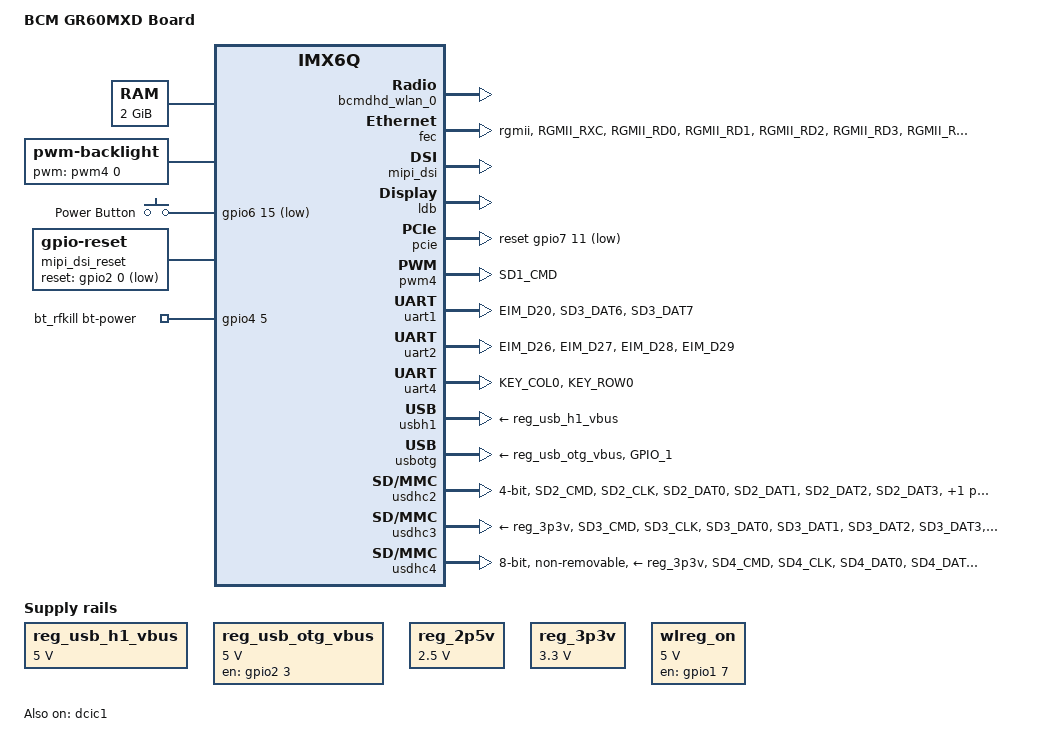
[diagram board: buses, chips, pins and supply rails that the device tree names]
/*
 */

/dts-v1/;

#include "imx6q.dtsi"

/ {
	model = "BCM GR60MXD Board";
	compatible = "bcmtwn,imx6q-gr60mxd", "fsl,imx6q";

	aliases {
		mxcfb0 = &mxcfb1;
		mxcfb1 = &mxcfb2;
	};

	memory {
		reg = <0x10000000 0x80000000>;
	};

	pwm-backlight {
		compatible = "pwm-backlight";
		pwms = <&pwm4 0 38000>;
		brightness-levels = <0 40 50 60 70 80 90 100>;
		default-brightness-level = <7>;
	};

	gpio-keys {
		compatible = "gpio-keys";

		/* Reconfig to power key in Android*/
		power {
			label = "Power Button";
			gpios = <&gpio6 15 GPIO_ACTIVE_LOW>;
			linux,code = <116>; /* KEY_POWER */
			gpio-key,wakeup;
		};
	};

	mipi_dsi_reset: mipi-dsi-reset {
		compatible = "gpio-reset";
		reset-gpios = <&gpio2 0 GPIO_ACTIVE_LOW>;
		reset-delay-us = <50>;
		#reset-cells = <0>;
	};

	mxcfb1: fb@0 {
		compatible = "fsl,mxc_sdc_fb";
		disp_dev = "lcd";
		interface_pix_fmt = "RGB24";
		mode_str ="TIANMA-WVGA";
		default_bpp = <24>;
		int_clk = <0>;
		late_init = <0>;
	};

	mxcfb2: fb@1 {
		compatible = "fsl,mxc_sdc_fb";
		disp_dev = "ldb";
		interface_pix_fmt = "RGB666";
		default_bpp = <16>;
		int_clk = <0>;
		late_init = <0>;
	};

	lcd@0 {
		compatible = "fsl,lcd";
		ipu_id = <0>;
		disp_id = <0>;
		default_ifmt = "RGB24";
		pinctrl-names = "default";
		pinctrl-0 = <&pinctrl_lcd>;
		status = "okay";
	};

	regulators {
		compatible = "simple-bus";

		reg_usb_h1_vbus: usb_h1_vbus {
			compatible = "regulator-fixed";
			regulator-name = "usb_h1_vbus";
			regulator-min-microvolt = <5000000>;
			regulator-max-microvolt = <5000000>;
            enable-active-high;
		};

		reg_usb_otg_vbus: usb_otg_vbus {
			compatible = "regulator-fixed";
			regulator-name = "usb_otg_vbus";
			regulator-min-microvolt = <5000000>;
			regulator-max-microvolt = <5000000>;
			gpio = <&gpio2 3 GPIO_ACTIVE_HIGH>;
            enable-active-high;
		};

		reg_2p5v: regulator@0 {
			compatible = "regulator-fixed";
			reg = <0>;
			regulator-name = "2P5V";
			regulator-min-microvolt = <2500000>;
			regulator-max-microvolt = <2500000>;
			regulator-always-on;
		};

		reg_3p3v: regulator@1 {
			compatible = "regulator-fixed";
			reg = <1>;
			regulator-name = "3P3V";
			regulator-min-microvolt = <3300000>;
			regulator-max-microvolt = <3300000>;
			regulator-always-on;
		};

		wlreg_on: fixedregulator@100 {
			compatible = "regulator-fixed";
			regulator-min-microvolt = <5000000>;
			regulator-max-microvolt = <5000000>;
			regulator-name = "wlreg_on";
			gpio = <&gpio1 7 GPIO_ACTIVE_HIGH>;
			startup-delay-us = <100>;
			enable-active-high;
		};

		bcmdhd_wlan_0: bcmdhd_wlan@0 {
			compatible = "android,bcmdhd_wlan";
			wlreg_on-supply = <&wlreg_on>;
		};

	    bt_rfkill {
            compatible = "fsl,mxc_bt_rfkill";
            bt-power-gpios = <&gpio4 5 0>;
            status ="okay";
	    };

		/*
		reg_sd3_vmmc: sd3_vmmc{
			compatible = "regulator-fixed";
			regulator-name = "P3V3_SDa_SWITCHED";
			regulator-min-microvolt = <3300000>;
			regulator-max-microvolt = <3300000>;
			status="okay";
		};

		reg_sd4_vmmc: sd4_vmmc{
			compatible = "regulator-fixed";
			regulator-name = "P3V3_SDa_SWITCHED";
			regulator-min-microvolt = <3300000>;
			regulator-max-microvolt = <3300000>;
			status="okay";
		};
		*/
	};

	v4l2_out {
		compatible = "fsl,mxc_v4l2_output";
		status = "okay";
	};

	ramoops_device {
		compatible = "fsl,mxc_ramoops";
		record_size = <524288>; /*512K*/
		console_size= <262144>; /*256K*/
		ftrace_size= <262144>;  /*256K*/
		dump_oops = <1>;
		status = "okay";
	};
};

&iomuxc {
	pinctrl-names = "default";
	pinctrl-0 = <&pinctrl_gr60mxd>;

	gr60mxd {
		pinctrl_gr60mxd: gr60mxdgrp {
			fsl,pins = <
				MX6QDL_PAD_GPIO_0__GPIO1_IO00  		0x80000000	/* SW_RST */
				MX6QDL_PAD_GPIO_2__GPIO1_IO02		0x80000000	/* CAN BUS standby mode control */
				MX6QDL_PAD_GPIO_4__GPIO1_IO04		0x80000000	/* VER_B0 */
				MX6QDL_PAD_GPIO_5__GPIO1_IO05		0x80000000	/* VER_B1 */
				MX6QDL_PAD_GPIO_9__GPIO1_IO09		0x80000000	/* PCIE_DIS_B */
				MX6QDL_PAD_KEY_COL1__GPIO4_IO08		0x80000000	/* L0_PWEREN */
				MX6QDL_PAD_KEY_ROW1__GPIO4_IO09		0x80000000	/* BL0_PWEREN */
				MX6QDL_PAD_KEY_COL2__GPIO4_IO10		0x80000000	/* BL0EN_GPO */
				MX6QDL_PAD_NANDF_ALE__GPIO6_IO08	0x80000000	/* CAP_TCH_INT0 */
				MX6QDL_PAD_NANDF_WP_B__GPIO6_IO09	0x80000000	/* GPIO_LED1 */
				MX6QDL_PAD_NANDF_RB0__GPIO6_IO10	0x80000000	/* GPIO_LED2 */
				MX6QDL_PAD_NANDF_CS0__GPIO6_IO11	0x80000000	/* PCIE_WAKE */
				MX6QDL_PAD_NANDF_CS2__GPIO6_IO15	0x80000000	/* PWR_EN */
				MX6QDL_PAD_SD3_DAT5__GPIO7_IO00		0x80000000	/* SD3_CD_B */
				MX6QDL_PAD_SD3_DAT4__GPIO7_IO01		0x80000000	/* WL_WAKEUP */ /* not use now */
				MX6QDL_PAD_GPIO_16__GPIO7_IO11		0x80000000	/* PCIE_RST_B */
				MX6QDL_PAD_NANDF_D0__GPIO2_IO00		0x80000000	/* LCD_RST */
				MX6QDL_PAD_NANDF_D1__GPIO2_IO01		0x80000000	/* USBV1_EN */
				MX6QDL_PAD_NANDF_D2__GPIO2_IO02		0x80000000	/* USBV2_EN */
				MX6QDL_PAD_NANDF_D3__GPIO2_IO03		0x80000000	/* OTG_PWR_EN */
				MX6QDL_PAD_GPIO_19__GPIO4_IO05		0x80000000	/* BT_REG_ON */
			>;
		};

		pinctrl_lcd: lcdgrp-1 {
			fsl,pins = <
				MX6QDL_PAD_DI0_DISP_CLK__IPU1_DI0_DISP_CLK 0x10
				MX6QDL_PAD_DI0_PIN15__IPU1_DI0_PIN15       0x10
				MX6QDL_PAD_DI0_PIN2__IPU1_DI0_PIN02        0x10
				MX6QDL_PAD_DI0_PIN3__IPU1_DI0_PIN03        0x10
				MX6QDL_PAD_DISP0_DAT0__IPU1_DISP0_DATA00   0x10
				MX6QDL_PAD_DISP0_DAT1__IPU1_DISP0_DATA01   0x10
				MX6QDL_PAD_DISP0_DAT2__IPU1_DISP0_DATA02   0x10
				MX6QDL_PAD_DISP0_DAT3__IPU1_DISP0_DATA03   0x10
				MX6QDL_PAD_DISP0_DAT4__IPU1_DISP0_DATA04   0x10
				MX6QDL_PAD_DISP0_DAT5__IPU1_DISP0_DATA05   0x10
				MX6QDL_PAD_DISP0_DAT6__IPU1_DISP0_DATA06   0x10
				MX6QDL_PAD_DISP0_DAT7__IPU1_DISP0_DATA07   0x10
				MX6QDL_PAD_DISP0_DAT8__IPU1_DISP0_DATA08   0x10
				MX6QDL_PAD_DISP0_DAT9__IPU1_DISP0_DATA09   0x10
				MX6QDL_PAD_DISP0_DAT10__IPU1_DISP0_DATA10  0x10
				MX6QDL_PAD_DISP0_DAT11__IPU1_DISP0_DATA11  0x10
				MX6QDL_PAD_DISP0_DAT12__IPU1_DISP0_DATA12  0x10
				MX6QDL_PAD_DISP0_DAT13__IPU1_DISP0_DATA13  0x10
				MX6QDL_PAD_DISP0_DAT14__IPU1_DISP0_DATA14  0x10
				MX6QDL_PAD_DISP0_DAT15__IPU1_DISP0_DATA15  0x10
				MX6QDL_PAD_DISP0_DAT16__IPU1_DISP0_DATA16  0x10
				MX6QDL_PAD_DISP0_DAT17__IPU1_DISP0_DATA17  0x10
				MX6QDL_PAD_DISP0_DAT18__IPU1_DISP0_DATA18  0x10
				MX6QDL_PAD_DISP0_DAT19__IPU1_DISP0_DATA19  0x10
				MX6QDL_PAD_DISP0_DAT20__IPU1_DISP0_DATA20  0x10
				MX6QDL_PAD_DISP0_DAT21__IPU1_DISP0_DATA21  0x10
				MX6QDL_PAD_DISP0_DAT22__IPU1_DISP0_DATA22  0x10
				MX6QDL_PAD_DISP0_DAT23__IPU1_DISP0_DATA23  0x10
			>;
		};

		pinctrl_uart1: uart1grp-2 {
			fsl,pins = <
				MX6QDL_PAD_EIM_D20__UART1_RTS_B     0x1b0b1
				MX6QDL_PAD_SD3_DAT6__UART1_RX_DATA  0x1b0b1
				MX6QDL_PAD_SD3_DAT7__UART1_TX_DATA  0x1b0b1
			>;
		};

		pinctrl_bt: btgrp {
			fsl,pins = <
				MX6QDL_PAD_EIM_D26__UART2_TX_DATA     	0x1b0b1
				MX6QDL_PAD_EIM_D27__UART2_RX_DATA  		0x1b0b1
				MX6QDL_PAD_EIM_D28__UART2_CTS_B  		0x1b0b1
				MX6QDL_PAD_EIM_D29__UART2_RTS_B  		0x1b0b1
			>;
		};

		pinctrl_uart4: uart4grp {
			fsl,pins = <
				MX6QDL_PAD_KEY_COL0__UART4_TX_DATA	0x1b0b1
				MX6QDL_PAD_KEY_ROW0__UART4_RX_DATA	0x1b0b1
			>;
		};

		pinctrl_pwm4: pwm4grp-1 {
			fsl,pins = <
				MX6QDL_PAD_SD1_CMD__PWM4_OUT 0x1b0b1
			>;
		};

		pinctrl_enet: enetgrp {
			fsl,pins = <
				MX6QDL_PAD_RGMII_RXC__RGMII_RXC	        0x1b0b0
				MX6QDL_PAD_RGMII_RD0__RGMII_RD0	        0x1b0b0
				MX6QDL_PAD_RGMII_RD1__RGMII_RD1	        0x1b0b0
				MX6QDL_PAD_RGMII_RD2__RGMII_RD2	        0x1b0b0
				MX6QDL_PAD_RGMII_RD3__RGMII_RD3	        0x1b0b0
				MX6QDL_PAD_RGMII_RX_CTL__RGMII_RX_CTL   0x1b0b0
				MX6QDL_PAD_RGMII_TXC__RGMII_TXC	        0x1b0b0
				MX6QDL_PAD_RGMII_TD0__RGMII_TD0	        0x1b0b0
				MX6QDL_PAD_RGMII_TD1__RGMII_TD1	        0x1b0b0
				MX6QDL_PAD_RGMII_TD2__RGMII_TD2	        0x1b0b0
				MX6QDL_PAD_RGMII_TD3__RGMII_TD3	        0x1b0b0
				MX6QDL_PAD_RGMII_TX_CTL__RGMII_TX_CTL   0x1b0b0
				MX6QDL_PAD_ENET_REF_CLK__ENET_TX_CLK	0x1b0b0
				MX6QDL_PAD_ENET_MDIO__ENET_MDIO	        0x1b0b0
				MX6QDL_PAD_ENET_MDC__ENET_MDC	        0x1b0b0
				MX6QDL_PAD_ENET_RXD0__GPIO1_IO27		0x80000000/* GE_nRST	*/
				MX6QDL_PAD_ENET_TX_EN__GPIO1_IO28       0x80000000/* PHY_INT	*/
			>;
		};

		pinctrl_usbotg: usbotggrp {
			fsl,pins = <
				MX6QDL_PAD_GPIO_1__USB_OTG_ID	0x17059
			>;
		};

		pinctrl_wifi: wifigrp {
			fsl,pins = <
				MX6QDL_PAD_SD2_CMD__SD2_CMD			0x17059
				MX6QDL_PAD_SD2_CLK__SD2_CLK			0x10059
				MX6QDL_PAD_SD2_DAT0__SD2_DATA0		0x17059
				MX6QDL_PAD_SD2_DAT1__SD2_DATA1		0x17059
				MX6QDL_PAD_SD2_DAT2__SD2_DATA2		0x17059
				MX6QDL_PAD_SD2_DAT3__SD2_DATA3		0x17059
				MX6QDL_PAD_GPIO_7__GPIO1_IO07		0x13069	/* WL_REG_ON */
			>;
		};

		pinctrl_usdhc3: usdhc3grp {
			fsl,pins = <
				MX6QDL_PAD_SD3_CMD__SD3_CMD			0x17059
				MX6QDL_PAD_SD3_CLK__SD3_CLK			0x10059
				MX6QDL_PAD_SD3_DAT0__SD3_DATA0		0x17059
				MX6QDL_PAD_SD3_DAT1__SD3_DATA1		0x17059
				MX6QDL_PAD_SD3_DAT2__SD3_DATA2		0x17059
				MX6QDL_PAD_SD3_DAT3__SD3_DATA3		0x17059
			>;
		};

		pinctrl_usdhc4: usdhc4grp {
			fsl,pins = <
				MX6QDL_PAD_SD4_CMD__SD4_CMD			0x17059
				MX6QDL_PAD_SD4_CLK__SD4_CLK			0x10059
				MX6QDL_PAD_SD4_DAT0__SD4_DATA0		0x17059
				MX6QDL_PAD_SD4_DAT1__SD4_DATA1		0x17059
				MX6QDL_PAD_SD4_DAT2__SD4_DATA2		0x17059
				MX6QDL_PAD_SD4_DAT3__SD4_DATA3		0x17059
				MX6QDL_PAD_SD4_DAT4__SD4_DATA4		0x17059
				MX6QDL_PAD_SD4_DAT5__SD4_DATA5		0x17059
				MX6QDL_PAD_SD4_DAT6__SD4_DATA6		0x17059
				MX6QDL_PAD_SD4_DAT7__SD4_DATA7		0x17059
			>;
		};

	};
};

/*
&i2c2 {
	clock-frequency = <100000>;
	pinctrl-names = "default";
	pinctrl-0 = <&pinctrl_i2c2_3>;
	status = "okay";
};

&i2c3 {
	pinctrl-names = "default";
	pinctrl-0 = <&pinctrl_i2c3_4>;
	pinctrl-assert-gpios = <&gpio5 4 GPIO_ACTIVE_HIGH>;
	status = "okay";
};
*/

&fec {
	pinctrl-names = "default";
	pinctrl-0 = <&pinctrl_enet>;
	phy-mode = "rgmii";
	phy-reset-gpios = <&gpio1 27 GPIO_ACTIVE_LOW>;
	status = "okay";
};

&mipi_dsi {
	dev_id = <0>;
	disp_id = <1>;
	lcd_panel = "TIANMA-WVGA";
	resets = <&mipi_dsi_reset>;
	status = "okay";
};

&ldb {
	status = "okay";

	lvds-channel@0 {
		crtc = "ipu2-di0";
		fsl,data-mapping = "spwg";
		fsl,data-width = <18>;
		primary;
		status = "okay";

		display-timings {
			native-mode = <&timing0>;
			timing0: hsd100pxn1 {
				clock-frequency = <65000000>;
				/*
				hactive = <1280>;
				vactive = <800>;
				*/
				hactive = <1024>;
				vactive = <600>;
				hback-porch = <220>;
				hfront-porch = <40>;
				vback-porch = <21>;
				vfront-porch = <7>;
				hsync-len = <60>;
				vsync-len = <10>;
			};
		};
	};
};

&dcic1 {
	dcic_id = <0>;
	dcic_mux = "dcic-lvds0";
	status = "okay";
};

&pcie {
	reset-gpio = <&gpio7 11 GPIO_ACTIVE_LOW>;
	disable-gpio = <&gpio1 9 GPIO_ACTIVE_LOW>;
	wake-gpio = <&gpio6 11 GPIO_ACTIVE_LOW>;
	status = "okay";
};

&pwm4 {
	pinctrl-names = "default";
	pinctrl-0 = <&pinctrl_pwm4>;
	status = "okay";
};

&uart1 {
	pinctrl-names = "default";
	pinctrl-0 = <&pinctrl_uart1>;
	fsl,uart-has-rtscts;
	status = "okay";
};

&uart2 {
	pinctrl-names = "default";
	pinctrl-0 = <&pinctrl_bt>;
	fsl,uart-has-rtscts;
	status = "okay";
	/* for DTE mode, add below change */
	/* fsl,dte-mode; */
	/* pinctrl-0 = <&pinctrl_uart5dte_1>; */
};

&uart4 {
	pinctrl-names = "default";
	pinctrl-0 = <&pinctrl_uart4>;
	status = "okay";
};

&usbh1 {
	vbus-supply = <&reg_usb_h1_vbus>;
	status = "okay";
};

&usbotg {
	vbus-supply = <&reg_usb_otg_vbus>;
	pinctrl-names = "default";
	pinctrl-0 = <&pinctrl_usbotg>;
	imx6-usb-charger-detection;
	status = "okay";
};

&usdhc2 {
	pinctrl-names = "default";
	pinctrl-0 = <&pinctrl_wifi>;
	bus-width = <4>;
	no-1-8-v;
	wifi-host;
	status = "okay";
};

&usdhc3 {
	pinctrl-names = "default";
	pinctrl-0 = <&pinctrl_usdhc3>;
	cd-gpios = <&gpio7 0 GPIO_ACTIVE_HIGH>;
	vmmc-supply = <&reg_3p3v>;
	no-1-8-v;
	keep-power-in-suspend;
	enable-sdio-wakeup;
	status = "okay";
};

&usdhc4 {
	pinctrl-names = "default";
	pinctrl-0 = <&pinctrl_usdhc4>;
	bus-width = <8>;
	vmmc-supply = <&reg_3p3v>;
	non-removable;
	no-1-8-v;
	keep-power-in-suspend;
	status = "okay";
};

&caam_sm  {
	status = "disabled";
};

&irq_sec_vio  {
	status = "disabled";
};

&caam_snvs  {
	status = "disabled";
};

&crypto {
	status = "disabled";
};


